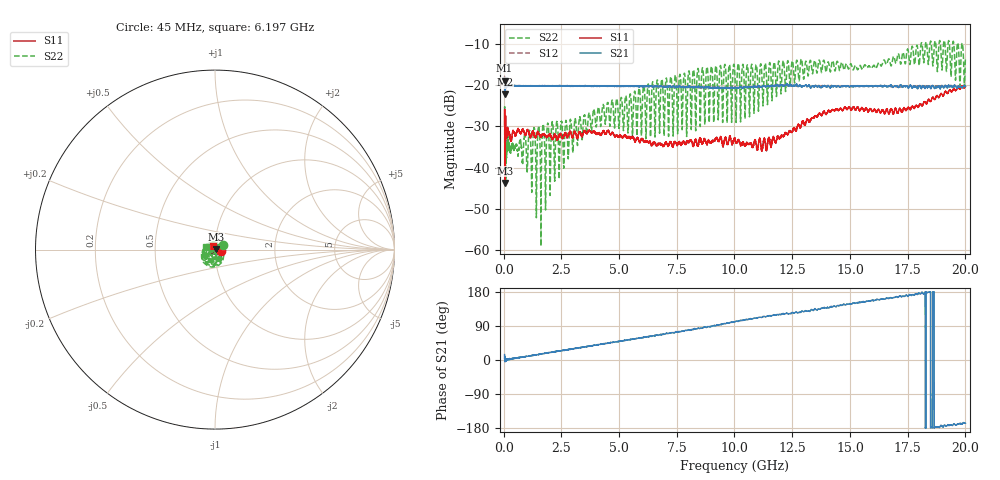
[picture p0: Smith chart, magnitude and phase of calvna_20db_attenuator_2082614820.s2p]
!Agilent Technologies,E8364A,US41440322,A.04.87.01
!Agilent E8364A: A.04.87.01
!Date: Thursday, July 18, 2024 08:45:07
!Correction: S11(Full 2 Port SOLT,1,2) S21(Full 2 Port SOLT,1,2) S12(Full 2 Port SOLT,1,2) S22(Full 2 Port SOLT,1,2)
!S2P File: Measurements: S11, S21, S12, S22:
# Hz S  dB  R 50
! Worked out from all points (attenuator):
!   6401 points, 45 MHz to 20 GHz, reference 50 ohm
!   highest |S21| = -18.91 dB at 45 MHz (marker M1); lowest = -22.2 dB at 51.24 MHz (marker M2)
!   lowest |S11| = -43.7 dB at 60.59 MHz (marker M3), VSWR 1.01, Z = 50.6 + j0.169 ohm
!   |S11| at or under -10 dB: start of sweep to end of sweep
!   |S22| runs from -59.0 to -9.2 dB; largest |S21 - S12| = 0.05
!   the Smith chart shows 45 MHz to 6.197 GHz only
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4.5e7  -29.63 -15.3  -18.91 14.1  -17.88 -8.9  -25.61 27.1
5.123594e7  -30.37 21.3  -22.22 10.2  -20.60 -6.6  -42.20 -72.8
6.058984e7  -43.66 14.7  -22.12 -0.1  -20.10 -3.5  -32.03 -3.0
1.510109e8  -31.46 -17.2  -20.15 2.0  -19.97 1.6  -34.80 -20.3
1.853086e8  -30.81 -9.8  -20.15 1.6  -20.15 2.6  -31.56 3.9
3.006734e8  -33.36 -10.2  -20.05 2.3  -20.15 2.1  -36.10 7.7
6.561219e8  -30.88 -25.1  -20.12 6.3  -20.17 5.9  -35.79 9.0
1.522917e9  -31.77 -58.1  -20.24 14.7  -20.22 13.7  -29.89 53.2
3.371873e9  -32.20 -139.2  -20.15 33.5  -20.24 32.5  -31.71 -112.4
4.525521e9  -31.05 -178.5  -20.25 44.2  -20.22 44.0  -24.39 -120.9
5.488973e9  -32.93 147.2  -20.23 54.3  -20.23 53.4  -22.11 -118.4
6.698745e9  -34.41 101.4  -20.38 65.1  -20.32 65.0  -20.52 -47.1
1.00225e10  -33.33 18.9  -20.60 101.4  -20.52 100.0  -18.06 14.9
1.055255e10  -33.92 25.1  -20.54 106.8  -20.49 105.6  -15.09 -40.3
1.144741e10  -33.35 39.6  -20.11 116.4  -20.14 115.9  -21.97 -139.9
1.334937e10  -27.95 67.1  -20.30 132.8  -20.34 130.0  -16.17 120.4
1.486159e10  -25.82 55.2  -20.24 146.9  -20.23 145.1  -14.91 61.8
1.667625e10  -26.94 -1.0  -20.28 162.3  -20.15 161.2  -13.64 -143.4
1.822588e10  -24.03 -71.5  -20.62 175.9  -20.31 175.7  -12.97 -125.6
1.980669e10  -20.59 -130.0  -20.46 -167.9  -20.39 -169.7  -13.17 -50.8
1.994076e10  -20.70 -134.7  -20.08 -165.9  -20.10 -168.4  -17.95 141.4
2e10  -20.31 -132.6  -20.33 -167.0  -20.47 -166.6  -13.28 -48.6
